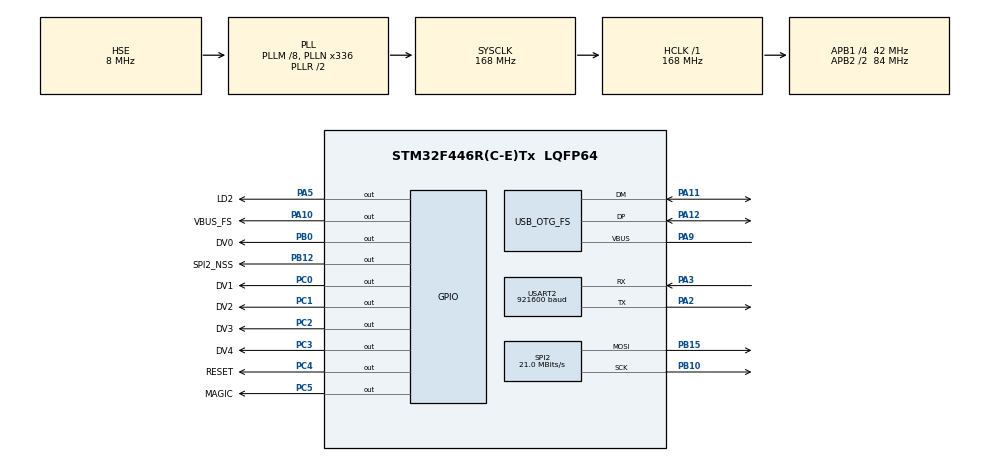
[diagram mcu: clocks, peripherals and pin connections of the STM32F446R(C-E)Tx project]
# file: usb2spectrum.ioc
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Dma.Request0=USART2_RX
Dma.Request1=USART2_TX
Dma.Request2=SPI2_TX
Dma.SPI2_TX.2.Direction=DMA_MEMORY_TO_PERIPH
Dma.SPI2_TX.2.FIFOMode=DMA_FIFOMODE_DISABLE
Dma.SPI2_TX.2.Instance=DMA1_Stream4
Dma.SPI2_TX.2.MemDataAlignment=DMA_MDATAALIGN_BYTE
Dma.SPI2_TX.2.MemInc=DMA_MINC_ENABLE
Dma.SPI2_TX.2.Mode=DMA_NORMAL
Dma.SPI2_TX.2.PeriphDataAlignment=DMA_PDATAALIGN_BYTE
Dma.SPI2_TX.2.PeriphInc=DMA_PINC_DISABLE
Dma.SPI2_TX.2.Priority=DMA_PRIORITY_LOW
Dma.USART2_RX.0.Direction=DMA_PERIPH_TO_MEMORY
Dma.USART2_RX.0.FIFOMode=DMA_FIFOMODE_DISABLE
Dma.USART2_RX.0.Instance=DMA1_Stream5
Dma.USART2_RX.0.MemDataAlignment=DMA_MDATAALIGN_BYTE
Dma.USART2_RX.0.MemInc=DMA_MINC_ENABLE
Dma.USART2_RX.0.Mode=DMA_CIRCULAR
Dma.USART2_RX.0.PeriphDataAlignment=DMA_PDATAALIGN_BYTE
Dma.USART2_RX.0.PeriphInc=DMA_PINC_DISABLE
Dma.USART2_RX.0.Priority=DMA_PRIORITY_LOW
Dma.USART2_TX.1.Direction=DMA_MEMORY_TO_PERIPH
Dma.USART2_TX.1.FIFOMode=DMA_FIFOMODE_DISABLE
Dma.USART2_TX.1.Instance=DMA1_Stream6
Dma.USART2_TX.1.MemDataAlignment=DMA_MDATAALIGN_BYTE
Dma.USART2_TX.1.MemInc=DMA_MINC_ENABLE
Dma.USART2_TX.1.Mode=DMA_NORMAL
Dma.USART2_TX.1.PeriphDataAlignment=DMA_PDATAALIGN_BYTE
Dma.USART2_TX.1.PeriphInc=DMA_PINC_DISABLE
Dma.USART2_TX.1.Priority=DMA_PRIORITY_LOW
Mcu.Family=STM32F4
Mcu.Name=STM32F446R(C-E)Tx
Mcu.Package=LQFP64
NVIC.DMA1_Stream4_IRQn=true\:0\:0\:false\:false\:true\:false\:true
NVIC.DMA1_Stream5_IRQn=true\:0\:0\:false\:false\:true\:false\:true
NVIC.DMA1_Stream6_IRQn=true\:0\:0\:false\:false\:true\:false\:true
NVIC.OTG_FS_IRQn=true\:0\:0\:false\:false\:true\:false\:true
NVIC.PriorityGroup=NVIC_PRIORITYGROUP_4
NVIC.SPI2_IRQn=true\:0\:0\:false\:false\:true\:true\:true
NVIC.USART2_IRQn=true\:0\:0\:false\:false\:true\:true\:true
PA10.GPIO_Label=VBUS_FS
PA10.Signal=GPIO_Output
PA11.Mode=Host_Only
PA11.Signal=USB_OTG_FS_DM
PA12.Mode=Host_Only
PA12.Signal=USB_OTG_FS_DP
PA13.Mode=Serial_Wire
PA13.Signal=SYS_JTMS-SWDIO
PA14.Mode=Serial_Wire
PA14.Signal=SYS_JTCK-SWCLK
PA2.Mode=Asynchronous
PA2.Signal=USART2_TX
PA3.Mode=Asynchronous
PA3.Signal=USART2_RX
PA5.GPIO_Label=LD2
PA5.GPIO_ModeDefaultOutputPP=GPIO_MODE_OUTPUT_OD
PA5.PinState=GPIO_PIN_SET
PA5.Signal=GPIO_Output
PA9.Mode=Activate_VBUS
PA9.Signal=USB_OTG_FS_VBUS
PB0.GPIO_Label=DV0
PB0.Signal=GPIO_Output
PB10.Mode=TX_Only_Simplex_Unidirect_Master
PB10.Signal=SPI2_SCK
PB12.GPIO_Label=SPI2_NSS
PB12.Signal=GPIO_Output
PB15.Mode=TX_Only_Simplex_Unidirect_Master
PB15.Signal=SPI2_MOSI
PC0.GPIO_Label=DV1
PC0.Signal=GPIO_Output
PC1.GPIO_Label=DV2
PC1.Signal=GPIO_Output
PC2.GPIO_Label=DV3
PC2.Signal=GPIO_Output
PC3.GPIO_Label=DV4
PC3.Signal=GPIO_Output
PC4.GPIO_Label=RESET
PC4.Signal=GPIO_Output
PC5.GPIO_Label=MAGIC
PC5.Signal=GPIO_Output
PH0-OSC_IN.Mode=HSE-External-Oscillator
PH0-OSC_IN.Signal=RCC_OSC_IN
PH1-OSC_OUT.Mode=HSE-External-Oscillator
PH1-OSC_OUT.Signal=RCC_OSC_OUT
ProjectManager.HeapSize=0x200
ProjectManager.StackSize=0x400
ProjectManager.TargetToolchain=Makefile
RCC.AHBFreq_Value=168000000
RCC.APB1CLKDivider=RCC_HCLK_DIV4
RCC.APB1Freq_Value=42000000
RCC.APB1TimFreq_Value=84000000
RCC.APB2CLKDivider=RCC_HCLK_DIV2
RCC.APB2Freq_Value=84000000
RCC.APB2TimFreq_Value=168000000
RCC.CortexFreq_Value=168000000
RCC.HCLKFreq_Value=168000000
RCC.HSE_VALUE=8000000
RCC.PLLM=8
RCC.PLLN=336
RCC.PLLQ=7
RCC.SYSCLKFreq_VALUE=168000000
RCC.SYSCLKSource=RCC_SYSCLKSOURCE_PLLRCLK
RCC.USBFreq_Value=48000000
RCC.VCOOutputFreq_Value=336000000
SPI2.BaudRatePrescaler=SPI_BAUDRATEPRESCALER_2
SPI2.CalculateBaudRate=21.0 MBits/s
SPI2.Direction=SPI_DIRECTION_2LINES
SPI2.Mode=SPI_MODE_MASTER
SPI2.VirtualType=VM_MASTER
USART2.BaudRate=921600
USART2.VirtualMode=VM_ASYNC
USB_HOST.BSP.number=1
USB_HOST.USBH_DEBUG_LEVEL-HID_FS=1
USB_HOST.USBH_HandleTypeDef-HID_FS=hUsbHostFS
USB_HOST.VirtualModeFS=Hid
USB_HOST0.BSP.STBoard=false
USB_HOST0.BSP.api=Unknown
USB_HOST0.BSP.i2caddr=0
USB_HOST0.BSP.instance=PA10
USB_HOST0.BSP.ip=GPIO
USB_HOST0.BSP.mode=Output
USB_HOST0.BSP.name=Drive_VBUS_FS
USB_HOST0.BSP.solution=PA10
USB_OTG_FS.VirtualMode=Host_Only
USB_OTG_FS.phy_itface=HCD_PHY_EMBEDDED
VP_USB_HOST_VS_USB_HOST_HID_FS.Mode=HID_FS
board=custom

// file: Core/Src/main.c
/* USER CODE BEGIN Header */
/**
  ******************************************************************************
  * @file           : main.c
  * @brief          : Main program body
  ******************************************************************************
  * @attention
  *
  * <h2><center>&copy; Copyright (c) 2021 STMicroelectronics.
  * All rights reserved.</center></h2>
  *
  * This software component is licensed by ST under BSD 3-Clause license,
  * the "License"; You may not use this file except in compliance with the
  * License. You may obtain a copy of the License at:
  *                        opensource.org/licenses/BSD-3-Clause
  *
  ******************************************************************************
  */
/* USER CODE END Header */
#include "main.h"
#include "dma.h"
#include "spi.h"
#include "usart.h"
#include "usb_host.h"
#include "gpio.h"

/* USER CODE BEGIN Includes */
#include "retarget.h"
#include "usbh_def.h"
#include "spectrum.h"
/* USER CODE END Includes */

void SystemClock_Config(void);
void MX_USB_HOST_Process(void);

int main(void)
{

  /* MCU Configuration--------------------------------------------------------*/

  /* Reset of all peripherals, Initializes the Flash interface and the Systick. */
  HAL_Init();

  /* Configure the system clock */
  SystemClock_Config();

  /* Initialize all configured peripherals */
  MX_GPIO_Init();
  MX_DMA_Init();
  MX_SPI2_Init();
  MX_USART2_UART_Init();
  MX_USB_HOST_Init();
  /* USER CODE BEGIN 2 */
  extern USBH_HandleTypeDef hUsbHostFS;
  int i = 0;
  int last_mouse_ev_cnt = 0;
  int reset_kempston = 0;
  for(int l=0; l<8;l++){
    HAL_GPIO_TogglePin(LD2_GPIO_Port, LD2_Pin);
    HAL_Delay(100);
  }
  /* USER CODE END 2 */

  /* Infinite loop */
  /* USER CODE BEGIN WHILE */
  while (1)
  {
    // Сохраним счетчик событий мышки
    last_mouse_ev_cnt = mouse_event_cnt;
    /* USER CODE END WHILE */
    MX_USB_HOST_Process();

    /* USER CODE BEGIN 3 */
    // Моргаем светодиодом, если подключен USB.
    if(hUsbHostFS.device.is_connected) {
      if(!(i++%16384)) {
        HAL_GPIO_TogglePin(LD2_GPIO_Port, LD2_Pin);
        opt_update();
      }
    }
    else {
      HAL_GPIO_WritePin(LD2_GPIO_Port, LD2_Pin, GPIO_PIN_RESET);
      role = use_none;
    }

    // Устраним движение курсора если нет событий от мышки.
    if((last_mouse_ev_cnt == mouse_event_cnt) && (reset_kempston++ > 30000) && (role == use_mouse)) {
      printf("Stop mouse move.\n");
      HAL_GPIO_WritePin(DV0_GPIO_Port, DV0_Pin, GPIO_PIN_RESET);
      HAL_GPIO_WritePin(DV1_GPIO_Port, DV1_Pin, GPIO_PIN_RESET);
      HAL_GPIO_WritePin(DV2_GPIO_Port, DV2_Pin, GPIO_PIN_RESET);
      HAL_GPIO_WritePin(DV3_GPIO_Port, DV3_Pin, GPIO_PIN_RESET);
      reset_kempston = 0;
    }

    // Сброс буфера printf в uart используя DMA.
    printf_flush();
  }
  /* USER CODE END 3 */
}

void SystemClock_Config(void)
{
  RCC_OscInitTypeDef RCC_OscInitStruct = {0};
  RCC_ClkInitTypeDef RCC_ClkInitStruct = {0};
  RCC_PeriphCLKInitTypeDef PeriphClkInitStruct = {0};

  /** Configure the main internal regulator output voltage
  */
  __HAL_RCC_PWR_CLK_ENABLE();
  __HAL_PWR_VOLTAGESCALING_CONFIG(PWR_REGULATOR_VOLTAGE_SCALE1);
  /** Initializes the RCC Oscillators according to the specified parameters
  * in the RCC_OscInitTypeDef structure.
  */
  RCC_OscInitStruct.OscillatorType = RCC_OSCILLATORTYPE_HSE;
  RCC_OscInitStruct.HSEState = RCC_HSE_ON;
  RCC_OscInitStruct.PLL.PLLState = RCC_PLL_ON;
  RCC_OscInitStruct.PLL.PLLSource = RCC_PLLSOURCE_HSE;
  RCC_OscInitStruct.PLL.PLLM = 8;
  RCC_OscInitStruct.PLL.PLLN = 336;
  RCC_OscInitStruct.PLL.PLLP = RCC_PLLP_DIV2;
  RCC_OscInitStruct.PLL.PLLQ = 7;
  RCC_OscInitStruct.PLL.PLLR = 2;
  if (HAL_RCC_OscConfig(&RCC_OscInitStruct) != HAL_OK)
  {
    Error_Handler();
  }
  /** Initializes the CPU, AHB and APB buses clocks
  */
  RCC_ClkInitStruct.ClockType = RCC_CLOCKTYPE_HCLK|RCC_CLOCKTYPE_SYSCLK
                              |RCC_CLOCKTYPE_PCLK1|RCC_CLOCKTYPE_PCLK2;
  RCC_ClkInitStruct.SYSCLKSource = RCC_SYSCLKSOURCE_PLLRCLK;
  RCC_ClkInitStruct.AHBCLKDivider = RCC_SYSCLK_DIV1;
  RCC_ClkInitStruct.APB1CLKDivider = RCC_HCLK_DIV4;
  RCC_ClkInitStruct.APB2CLKDivider = RCC_HCLK_DIV2;

  if (HAL_RCC_ClockConfig(&RCC_ClkInitStruct, FLASH_LATENCY_5) != HAL_OK)
  {
    Error_Handler();
  }
  PeriphClkInitStruct.PeriphClockSelection = RCC_PERIPHCLK_CLK48;
  PeriphClkInitStruct.Clk48ClockSelection = RCC_CLK48CLKSOURCE_PLLQ;
  if (HAL_RCCEx_PeriphCLKConfig(&PeriphClkInitStruct) != HAL_OK)
  {
    Error_Handler();
  }
}

void Error_Handler(void)
{
  __disable_irq();
  while (1)
  {
  }
}

/************************ (C) COPYRIGHT STMicroelectronics *****END OF FILE****/
